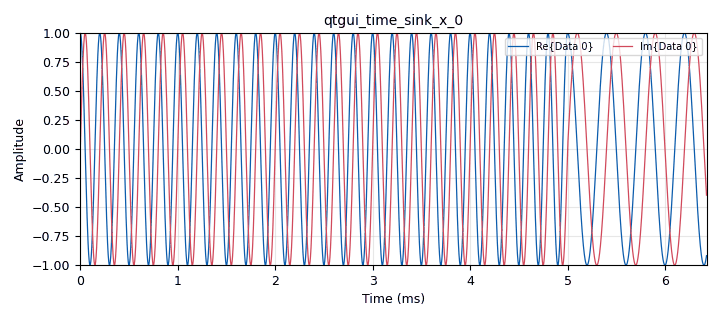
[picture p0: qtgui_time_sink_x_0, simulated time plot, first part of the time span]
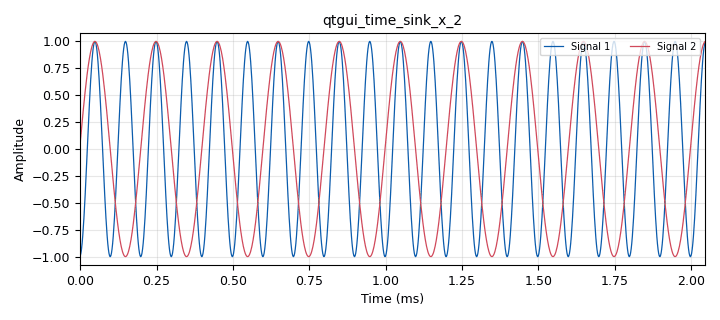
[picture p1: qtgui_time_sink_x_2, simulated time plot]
options:
  parameters:
    generate_options: qt_gui
    id: test2
    output_language: python
    title: Not titled yet
  states: {}

blocks:
- name: delay
  id: variable
  parameters:
    value: '5000'
  states: {}
- name: frequency
  id: variable
  parameters:
    value: '10000'
  states: {}
- name: samp_rate
  id: variable
  parameters:
    value: '500000'
  states: {}
- name: variable_0
  id: variable
  parameters:
    value: (10000,5000,2500,1250)
  states: {}
- name: variable_qtgui_chooser_0
  id: variable_qtgui_chooser
  parameters:
    num_opts: '3'
    option0: '0'
    option1: '1000'
    option2: '2'
    type: int
    value: '0'
  states: {}
- name: variable_qtgui_range_0
  id: variable_qtgui_range
  parameters:
    start: '0'
    step: '0.05'
    stop: '100'
    value: '0'
  states: {}
- name: analog_agc_xx_0
  id: analog_agc_xx
  parameters:
    gain: '1'
    max_gain: '65536'
    rate: '1e-4'
    reference: '1.0'
    type: complex
  states: {}
- name: analog_noise_source_x_0
  id: analog_noise_source_x
  parameters:
    amp: variable_qtgui_range_0
    noise_type: analog.GR_GAUSSIAN
    seed: '0'
    type: complex
  states: {}
- name: analog_sig_source_x_0
  id: analog_sig_source_x
  parameters:
    amp: '1'
    freq: '1000'
    offset: '0'
    phase: '0'
    samp_rate: samp_rate
    type: byte
    waveform: analog.GR_COS_WAVE
  states: {state: disabled}
- name: analog_sig_source_x_0_0
  id: analog_sig_source_x
  parameters:
    amp: '1'
    freq: '10000'
    offset: '0'
    phase: '0'
    samp_rate: samp_rate
    type: complex
    waveform: analog.GR_COS_WAVE
  states: {}
- name: analog_sig_source_x_0_0_0
  id: analog_sig_source_x
  parameters:
    amp: '1'
    freq: '5000'
    offset: '0'
    phase: '0'
    samp_rate: samp_rate
    type: complex
    waveform: analog.GR_COS_WAVE
  states: {}
- name: analog_sig_source_x_0_0_0_0
  id: analog_sig_source_x
  parameters:
    amp: '1'
    freq: frequency/4
    offset: '0'
    phase: '0'
    samp_rate: samp_rate
    type: complex
    waveform: analog.GR_COS_WAVE
  states: {}
- name: analog_sig_source_x_0_0_0_1
  id: analog_sig_source_x
  parameters:
    amp: '1'
    freq: frequency/8
    offset: '0'
    phase: '0'
    samp_rate: samp_rate
    type: complex
    waveform: analog.GR_COS_WAVE
  states: {}
- name: blocks_add_xx_0
  id: blocks_add_xx
  parameters:
    type: complex
  states: {}
- name: blocks_and_xx_0
  id: blocks_and_xx
  parameters:
    type: byte
  states: {state: disabled}
- name: blocks_complex_to_float_0
  id: blocks_complex_to_float
  parameters: {}
  states: {}
- name: blocks_complex_to_float_1
  id: blocks_complex_to_float
  parameters: {}
  states: {}
- name: blocks_delay_0
  id: blocks_delay
  parameters:
    delay: delay
    type: complex
  states: {}
- name: blocks_delay_0_0
  id: blocks_delay
  parameters:
    delay: delay
    type: complex
  states: {state: disabled}
- name: blocks_delay_0_1
  id: blocks_delay
  parameters:
    delay: delay
    type: complex
  states: {state: disabled}
- name: blocks_delay_0_2
  id: blocks_delay
  parameters:
    delay: delay
    type: complex
  states: {state: disabled}
- name: blocks_delay_0_3
  id: blocks_delay
  parameters:
    delay: delay
    type: complex
  states: {state: disabled}
- name: blocks_delay_1
  id: blocks_delay
  parameters:
    delay: '0'
    type: complex
  states: {state: disabled}
- name: blocks_null_sink_0
  id: blocks_null_sink
  parameters:
    type: complex
  states: {state: disabled}
- name: blocks_null_sink_1
  id: blocks_null_sink
  parameters:
    type: float
  states: {}
- name: blocks_null_sink_2
  id: blocks_null_sink
  parameters:
    type: float
  states: {}
- name: blocks_null_sink_2_0
  id: blocks_null_sink
  parameters:
    type: float
  states: {}
- name: blocks_stream_mux_0
  id: blocks_stream_mux
  parameters:
    lengths: variable_0
    num_inputs: '4'
    type: complex
  states: {}
- name: blocks_stream_mux_0_0
  id: blocks_stream_mux
  parameters:
    lengths: (18750,18750)
    type: complex
  states: {state: disabled}
- name: blocks_stream_mux_0_1
  id: blocks_stream_mux
  parameters:
    lengths: variable_0
    num_inputs: '4'
    type: complex
  states: {state: disabled}
- name: blocks_stream_to_vector_0
  id: blocks_stream_to_vector
  parameters:
    num_items: '5000'
    type: float
  states: {state: disabled}
- name: blocks_stream_to_vector_0_0
  id: blocks_stream_to_vector
  parameters:
    num_items: '5000'
    type: float
  states: {state: disabled}
- name: blocks_stream_to_vector_1
  id: blocks_stream_to_vector
  parameters:
    num_items: '18750'
    type: float
  states: {state: disabled}
- name: blocks_stream_to_vector_1_0
  id: blocks_stream_to_vector
  parameters:
    num_items: '18750'
    type: float
  states: {state: disabled}
- name: blocks_throttle_0
  id: blocks_throttle
  parameters:
    samples_per_second: samp_rate
    type: complex
  states: {}
- name: blocks_vector_to_stream_0
  id: blocks_vector_to_stream
  parameters:
    num_items: '10000'
    type: float
  states: {state: disabled}
- name: channels_channel_model_0
  id: channels_channel_model
  parameters:
    epsilon: '1.0'
    freq_offset: '0.0'
    noise_voltage: '1'
    seed: '0'
    taps: 1.0 + 1.0j
  states: {state: disabled}
- name: epy_block_0
  id: epy_block
  parameters:
    _source_code: "\"\"\"\nEmbedded Python Blocks:\n\nEach time this file is saved, GRC will instantiate the first class it finds\nto get ports and parameters of your block. The arguments to __init__  will\nbe the parameters. All of them are required to have default values!\n\"\"\"\n\nimport numpy as np\nfrom gnuradio import gr\nimport scipy as sci\nfrom gnuradio import analog\n\n\nclass blk(gr.sync_block):  # other base classes are basic_block, decim_block, interp_block\n    \"\"\"Embedded Python Block example - a simple multiply const\"\"\"\n\n    def __init__(self, vectorSize=5000):  # only default arguments here\n        \"\"\"arguments to this function show up as parameters in GRC\"\"\"\n        gr.sync_block.__init__(\n            self,\n            name='Sequential Signal Formation Block',   # will show up in GRC\n            in_sig=[(np.float32,vectorSize),(np.float32,vectorSize)],\n            out_sig=[(np.float32,vectorSize*2)]\n        )\n        # if an attribute with the same name as a parameter is found,\n        # a callback is registered (properties work, too).\n        \n\n\n    def work(self, input_items, output_items):\n        \"\"\"example: multiply with constant\"\"\"\n        \n    \n\n        return len(output_items[0])\n        \n"
    vectorSize: '128'
  states: {state: disabled}
- name: epy_block_1
  id: epy_block
  parameters:
    _source_code: |-
      import numpy as np
      from gnuradio import gr

      class CorrelationDelayEstimator(gr.sync_block):
          def __init__(self, vectorsize=18750, sample_rate=500000):
              gr.sync_block.__init__(
                  self,
                  name='CorrelationDelayEstimator',
                  in_sig=[np.complex64, np.complex64],
                  out_sig=[np.float32]
              )
              self.vectorsize = vectorsize
              self.range_clock_signal = np.zeros(vectorsize, dtype=np.complex64)
              self.sequential_signal = np.zeros(vectorsize, dtype=np.complex64)
              self.i = 0
              self.j = 0
              self.sample_rate = sample_rate
              self.correlation_values = np.zeros(vectorsize, dtype=np.complex64)

          def work(self, input_items, output_items):
              sequential_signal = input_items[0][:]
              range_clock_signal = input_items[1][:]
              num_samples = sequential_signal.shape[0]
              output_items[0][:] = 0

              while self.j < num_samples:
                  if self.i < self.vectorsize:
                      self.range_clock_signal[self.i] = range_clock_signal[self.j]
                      self.sequential_signal[self.i] = sequential_signal[self.j]
                      self.i += 1
                      self.j += 1
                      continue

                  # calculate delay
                  self.correlation_values = np.fft.ifft(np.fft.fft(self.range_clock_signal) * np.conj(np.fft.fft(self.sequential_signal)))
                  self.sample_delay_count = np.argmax(np.abs(self.correlation_values))
                  delay = self.vectorsize - self.sample_delay_count
                  delay_in_micro_seconds = 10 ** 6 * delay / self.sample_rate

                  output_items[0][:] = delay_in_micro_seconds
                  self.i = 0
                  print(delay)

              self.j = 0
              return num_samples
    sample_rate: samp_rate
    vectorsize: '18750'
  states: {}
- name: epy_block_1_0
  id: epy_block
  parameters:
    _source_code: |
      import numpy as np
      from gnuradio import gr

      class CorrelationDelayEstimator(gr.sync_block):
          def __init__(self, vectorsize=18750):
              gr.sync_block.__init__(
                  self,
                  name='CorrelationDelayEstimator',
                  in_sig=[np.float32, np.float32],
                  out_sig=[np.int32]
              )

              self.vectorsize = vectorsize

          def work(self, input_items, output_items):
              x = np.asarray(input_items[0])
              y = np.asarray(input_items[1])

              corr = np.correlate(x, y, mode='full')
              delay = np.argmax(np.abs(corr)) - self.vectorsize + 1

              output_items[0][:] = delay
              return len(output_items[0])
    vectorsize: '18750'
  states: {state: disabled}
- name: qtgui_histogram_sink_x_0
  id: qtgui_histogram_sink_x
  parameters:
    bins: '100'
    size: '1024'
    type: float
    xmax: '20000'
    xmin: '0'
  states: {state: disabled}
- name: qtgui_number_sink_0
  id: qtgui_number_sink
  parameters:
    autoscale: 'True'
    graph_type: qtgui.NUM_GRAPH_HORIZ
    type: float
    update_time: '0.1'
  states: {state: disabled}
- name: qtgui_time_sink_x_0
  id: qtgui_time_sink_x
  parameters:
    entags: 'False'
    size: '50000'
    srate: samp_rate
    type: complex
  states: {}
- name: qtgui_time_sink_x_1
  id: qtgui_time_sink_x
  parameters:
    autoscale: 'True'
    nconnections: '2'
    size: '2048'
    srate: samp_rate
    type: float
  states: {state: disabled}
- name: qtgui_time_sink_x_2
  id: qtgui_time_sink_x
  parameters:
    entags: 'False'
    nconnections: '2'
    size: '1024'
    srate: samp_rate
    type: float
  states: {}

connections:
- [analog_agc_xx_0, '0', blocks_complex_to_float_1, '0']
- [analog_agc_xx_0, '0', epy_block_1, '0']
- [analog_noise_source_x_0, '0', blocks_add_xx_0, '1']
- [analog_sig_source_x_0, '0', blocks_and_xx_0, '0']
- [analog_sig_source_x_0, '0', blocks_null_sink_0, '0']
- [analog_sig_source_x_0_0, '0', blocks_throttle_0, '0']
- [analog_sig_source_x_0_0_0, '0', blocks_delay_0_1, '0']
- [analog_sig_source_x_0_0_0, '0', blocks_stream_mux_0, '1']
- [analog_sig_source_x_0_0_0, '0', blocks_stream_to_vector_0_0, '0']
- [analog_sig_source_x_0_0_0_0, '0', blocks_delay_0_3, '0']
- [analog_sig_source_x_0_0_0_0, '0', blocks_stream_mux_0, '2']
- [analog_sig_source_x_0_0_0_1, '0', blocks_delay_0_2, '0']
- [analog_sig_source_x_0_0_0_1, '0', blocks_stream_mux_0, '3']
- [blocks_add_xx_0, '0', analog_agc_xx_0, '0']
- [blocks_complex_to_float_0, '0', qtgui_time_sink_x_2, '1']
- [blocks_complex_to_float_0, '1', blocks_null_sink_1, '0']
- [blocks_complex_to_float_1, '0', qtgui_time_sink_x_2, '0']
- [blocks_complex_to_float_1, '1', blocks_null_sink_2_0, '0']
- [blocks_delay_0, '0', blocks_add_xx_0, '0']
- [blocks_delay_0, '0', blocks_delay_1, '0']
- [blocks_delay_0, '0', blocks_stream_mux_0_0, '1']
- [blocks_delay_0, '0', blocks_stream_to_vector_1, '0']
- [blocks_delay_0, '0', channels_channel_model_0, '0']
- [blocks_delay_0_0, '0', blocks_stream_mux_0_1, '0']
- [blocks_delay_0_1, '0', blocks_stream_mux_0_1, '1']
- [blocks_delay_0_2, '0', blocks_stream_mux_0_1, '3']
- [blocks_delay_0_3, '0', blocks_stream_mux_0_1, '2']
- [blocks_delay_1, '0', blocks_add_xx_0, '0']
- [blocks_stream_mux_0, '0', blocks_complex_to_float_0, '0']
- [blocks_stream_mux_0, '0', blocks_delay_0, '0']
- [blocks_stream_mux_0, '0', blocks_stream_mux_0_0, '0']
- [blocks_stream_mux_0, '0', blocks_stream_to_vector_1_0, '0']
- [blocks_stream_mux_0, '0', epy_block_1, '1']
- [blocks_stream_mux_0, '0', qtgui_time_sink_x_0, '0']
- [blocks_stream_mux_0, '0', qtgui_time_sink_x_1, '1']
- [blocks_stream_mux_0_0, '0', blocks_add_xx_0, '0']
- [blocks_stream_mux_0_1, '0', blocks_add_xx_0, '0']
- [blocks_stream_to_vector_0, '0', epy_block_0, '0']
- [blocks_stream_to_vector_0_0, '0', epy_block_0, '1']
- [blocks_throttle_0, '0', blocks_delay_0_0, '0']
- [blocks_throttle_0, '0', blocks_stream_mux_0, '0']
- [blocks_throttle_0, '0', blocks_stream_to_vector_0, '0']
- [blocks_vector_to_stream_0, '0', qtgui_time_sink_x_0, '0']
- [channels_channel_model_0, '0', analog_agc_xx_0, '0']
- [channels_channel_model_0, '0', blocks_complex_to_float_1, '0']
- [channels_channel_model_0, '0', epy_block_1, '0']
- [epy_block_0, '0', blocks_vector_to_stream_0, '0']
- [epy_block_1, '0', blocks_null_sink_2, '0']
- [epy_block_1, '0', qtgui_histogram_sink_x_0, '0']
- [epy_block_1, '0', qtgui_number_sink_0, '0']

metadata:
  file_format: 1
  grc_version: 3.10.5.1
